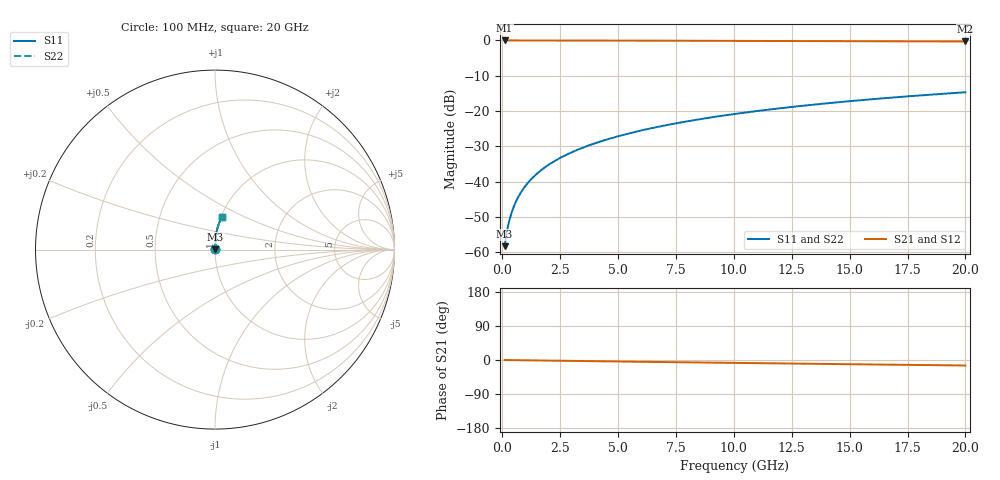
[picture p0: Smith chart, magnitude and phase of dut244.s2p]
! Touchstone file exported from HFSS 2024.1.0
!  File:  C:/UserFiles/LocalFiles/RDL_TSV_Batchsim/temp_RDL_bottom_244_1778701404.aedt
!  Generated:  03:46:04 AM May 14, 2026
!  Design:  RDL_bottom
!  Project:  temp_RDL_bottom_244_1778701404
!  Setup:  Setup1
!  Solution:  Sweep
! Variables:
!  dtsv = 10.80580581um
!  hbump = 3um
!  htsv = 93.9um
!  ldown = 143.89um
!  lrdl = 100um
!  p = 40
!  p1 = 59.32um
!  rhole = 1um
!  t = 450um
!  tdown = 4.1um
!  trdl = 3.915915916um
!  wdown = 19.08um
!  wrdl = 20um
# GHz S MA R 50.000000
! Terminal data exported
! Port[1] = RDL1_T1
! Port[2] = RDL1_T2
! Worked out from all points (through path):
!   200 points, 100 MHz to 20 GHz, reference 50 ohm
!   highest |S21| = -0.01 dB at 100 MHz (marker M1); lowest = -0.3 dB at 20 GHz (marker M2)
!   group delay of S21, straight-line fit = 2 ps
!   lowest |S11| = -58.2 dB at 100 MHz (marker M3), VSWR 1.00, Z = 50.1 + j0.0908 ohm
!   |S11| at or under -10 dB: start of sweep to end of sweep
!   |S22| runs from -58.2 to -14.7 dB; largest |S21 - S12| = 2.7e-15
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0.1  0.001226 47.7  0.9992 -0.1  0.9992 -0.1  0.001226 47.7
! Gamma 0 0 0 0
! Port Impedance 50 0 50 0
0.2  0.00199 64.6  0.9991 -0.2  0.9991 -0.2  0.00199 64.6
0.3  0.002812 71.7  0.9991 -0.2  0.9991 -0.2  0.002812 71.7
0.4  0.003647 75.6  0.9991 -0.3  0.9991 -0.3  0.003647 75.6
0.5  0.004488 78.1  0.999 -0.4  0.999 -0.4  0.004488 78.1
0.7  0.006181 81.2  0.9989 -0.6  0.9989 -0.6  0.006181 81.2
0.8  0.007032 82.2  0.9989 -0.7  0.9989 -0.7  0.007032 82.2
1  0.008742 83.6  0.9988 -0.8  0.9988 -0.8  0.008742 83.6
1.2  0.01046 84.6  0.9987 -1.0  0.9987 -1.0  0.01046 84.6
1.4  0.01218 85.3  0.9986 -1.1  0.9986 -1.1  0.01218 85.3
1.7  0.01478 86.1  0.9984 -1.4  0.9984 -1.4  0.01478 86.1
2  0.01738 86.6  0.9982 -1.6  0.9982 -1.6  0.01738 86.6
2.7  0.0235 87.3  0.9975 -2.2  0.9975 -2.2  0.0235 87.3
3.5  0.03057 87.7  0.9966 -2.8  0.9966 -2.8  0.03057 87.7
4.2  0.03682 87.8  0.9956 -3.4  0.9956 -3.4  0.03682 87.8
5  0.04404 87.8  0.9944 -4.0  0.9944 -4.0  0.04404 87.8
6.8  0.06059 87.3  0.9914 -5.3  0.9914 -5.3  0.0606 87.3
8.3  0.07464 86.6  0.9888 -6.4  0.9888 -6.4  0.07464 86.6
10.1  0.09167 85.6  0.9855 -7.7  0.9855 -7.7  0.09167 85.6
13.4  0.123 83.3  0.9793 -10.0  0.9793 -10.0  0.123 83.3
16.7  0.1541 80.9  0.9728 -12.3  0.9728 -12.3  0.1541 80.9
20  0.1847 78.4  0.966 -14.5  0.966 -14.5  0.1847 78.4
